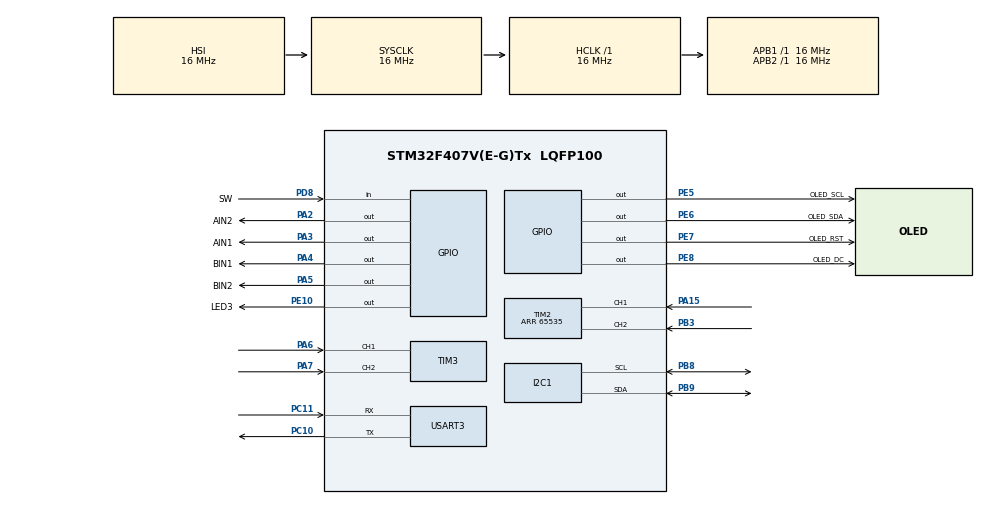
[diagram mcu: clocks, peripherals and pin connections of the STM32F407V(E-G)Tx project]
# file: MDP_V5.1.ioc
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Dma.Request0=USART3_RX
Dma.USART3_RX.0.Direction=DMA_PERIPH_TO_MEMORY
Dma.USART3_RX.0.FIFOMode=DMA_FIFOMODE_DISABLE
Dma.USART3_RX.0.Instance=DMA1_Stream1
Dma.USART3_RX.0.MemDataAlignment=DMA_MDATAALIGN_BYTE
Dma.USART3_RX.0.MemInc=DMA_MINC_ENABLE
Dma.USART3_RX.0.Mode=DMA_CIRCULAR
Dma.USART3_RX.0.PeriphDataAlignment=DMA_PDATAALIGN_BYTE
Dma.USART3_RX.0.PeriphInc=DMA_PINC_DISABLE
Dma.USART3_RX.0.Priority=DMA_PRIORITY_LOW
FREERTOS.Tasks01=defaultTask,8,128,StartDefaultTask,Default,NULL,Dynamic,NULL,NULL;DisplayTask,8,128,Display,Default,NULL,Dynamic,NULL,NULL;Motor_L,8,1024,LeftMotor,Default,NULL,Dynamic,NULL,NULL;GyroTask,8,1024,GyroFunc,Default,NULL,Dynamic,NULL,NULL
Mcu.Family=STM32F4
Mcu.Name=STM32F407V(E-G)Tx
Mcu.Package=LQFP100
NVIC.DMA1_Stream1_IRQn=true\:5\:0\:false\:false\:true\:true\:false\:true\:true
NVIC.PriorityGroup=NVIC_PRIORITYGROUP_4
NVIC.USART3_IRQn=true\:5\:0\:false\:false\:true\:true\:true\:true\:true
PA15.Signal=S_TIM2_CH1_ETR
PA2.GPIO_Label=AIN2
PA2.Signal=GPIO_Output
PA3.GPIO_Label=AIN1
PA3.Signal=GPIO_Output
PA4.GPIO_Label=BIN1
PA4.Signal=GPIO_Output
PA5.GPIO_Label=BIN2
PA5.Signal=GPIO_Output
PA6.Signal=S_TIM3_CH1
PA7.Signal=S_TIM3_CH2
PB3.Signal=S_TIM2_CH2
PB8.Mode=I2C
PB8.Signal=I2C1_SCL
PB9.Mode=I2C
PB9.Signal=I2C1_SDA
PC10.Mode=Asynchronous
PC10.Signal=USART3_TX
PC11.Mode=Asynchronous
PC11.Signal=USART3_RX
PC6.GPIO_Label=PWMA
PC6.Signal=S_TIM8_CH1
PC7.GPIO_Label=PWMB
PC7.Signal=S_TIM8_CH2
PD8.GPIO_Label=SW
PD8.Signal=GPIO_Input
PE10.GPIO_Label=LED3
PE10.Signal=GPIO_Output
PE14.GPIO_Label=Servo
PE14.Signal=S_TIM1_CH4
PE5.GPIO_Label=OLED_SCL
PE5.Signal=GPIO_Output
PE6.GPIO_Label=OLED_SDA
PE6.Signal=GPIO_Output
PE7.GPIO_Label=OLED_RST
PE7.Signal=GPIO_Output
PE8.GPIO_Label=OLED_DC
PE8.Signal=GPIO_Output
ProjectManager.HeapSize=0x200
ProjectManager.StackSize=0x400
ProjectManager.TargetToolchain=STM32CubeIDE
RCC.AHBFreq_Value=16000000
RCC.APB1Freq_Value=16000000
RCC.APB2Freq_Value=16000000
RCC.CortexFreq_Value=16000000
RCC.HSE_VALUE=25000000
RCC.HSI_VALUE=16000000
RCC.LSE_VALUE=32768
RCC.SYSCLKFreq_VALUE=16000000
RCC.VCOOutputFreq_Value=192000000
SH.S_TIM1_CH4.0=TIM1_CH4
SH.S_TIM2_CH1_ETR.0=TIM2_CH1,Encoder_Interface
SH.S_TIM2_CH2.0=TIM2_CH2,Encoder_Interface
SH.S_TIM3_CH1.0=TIM3_CH1,Encoder_Interface
SH.S_TIM3_CH2.0=TIM3_CH2,Encoder_Interface
SH.S_TIM8_CH1.0=TIM8_CH1
SH.S_TIM8_CH2.0=TIM8_CH2
TIM1.Channel-PWM\ Generation4\ No\ Output=TIM_CHANNEL_4
TIM1.Period=1000
TIM1.Prescaler=160
TIM2.EncoderMode=TIM_ENCODERMODE_TI12
TIM2.IC1Filter=10
TIM2.IC2Filter=10
TIM2.Period=65535
TIM3.EncoderMode=TIM_ENCODERMODE_TI12
TIM3.IC1Filter=10
TIM3.IC2Filter=10
TIM8.Channel-PWM\ Generation1\ No\ Output=TIM_CHANNEL_1
TIM8.Channel-PWM\ Generation2\ No\ Output=TIM_CHANNEL_2
TIM8.Period=7199
USART3.VirtualMode=VM_ASYNC
VP_FREERTOS_VS_CMSIS_V2.Mode=CMSIS_V2
VP_TIM1_VS_ClockSourceINT.Mode=Internal
VP_TIM1_VS_no_output4.Mode=PWM Generation4 No Output
VP_TIM8_VS_ClockSourceINT.Mode=Internal
VP_TIM8_VS_no_output1.Mode=PWM Generation1 No Output
VP_TIM8_VS_no_output2.Mode=PWM Generation2 No Output
board=custom

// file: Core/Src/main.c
/* USER CODE BEGIN Header */
/**
  ******************************************************************************
  * @file           : main.c
  * @brief          : Main program body
  ******************************************************************************
  * @attention
  *
  * Copyright (c) 2022 STMicroelectronics.
  * All rights reserved.
  *
  * This software is licensed under terms that can be found in the LICENSE file
  * in the root directory of this software component.
  * If no LICENSE file comes with this software, it is provided AS-IS.
  *
  ******************************************************************************
  */
/* USER CODE END Header */
#include "main.h"
#include "cmsis_os.h"

/* USER CODE BEGIN Includes */
#include "oled.h"
#include "ICM20948.h"
#include "math.h"
#include "pid.h"
#include "stdio.h"
/* USER CODE END Includes */

I2C_HandleTypeDef hi2c1;

TIM_HandleTypeDef htim1;
TIM_HandleTypeDef htim2;
TIM_HandleTypeDef htim3;
TIM_HandleTypeDef htim8;

UART_HandleTypeDef huart3;
DMA_HandleTypeDef hdma_usart3_rx;

/* Definitions for defaultTask */
osThreadId_t defaultTaskHandle;
const osThreadAttr_t defaultTask_attributes = {
  .name = "defaultTask",
  .stack_size = 128 * 4,
  .priority = (osPriority_t) osPriorityLow,
};
/* Definitions for DisplayTask */
osThreadId_t DisplayTaskHandle;
const osThreadAttr_t DisplayTask_attributes = {
  .name = "DisplayTask",
  .stack_size = 128 * 4,
  .priority = (osPriority_t) osPriorityLow,
};
/* Definitions for Motor_L */
osThreadId_t Motor_LHandle;
const osThreadAttr_t Motor_L_attributes = {
  .name = "Motor_L",
  .stack_size = 1024 * 4,
  .priority = (osPriority_t) osPriorityLow,
};
/* Definitions for GyroTask */
osThreadId_t GyroTaskHandle;
const osThreadAttr_t GyroTask_attributes = {
  .name = "GyroTask",
  .stack_size = 1024 * 4,
  .priority = (osPriority_t) osPriorityLow,
};

void SystemClock_Config(void);
static void MX_GPIO_Init(void);
static void MX_DMA_Init(void);
static void MX_TIM8_Init(void);
static void MX_TIM2_Init(void);
static void MX_TIM1_Init(void);
static void MX_USART3_UART_Init(void);
static void MX_TIM3_Init(void);
static void MX_I2C1_Init(void);
void StartDefaultTask(void *argument);
void Display(void *argument);
void LeftMotor(void *argument);
void GyroFunc(void *argument);

/* USER CODE BEGIN 0 */
uint16_t pwmVal = 2300, pwmVal_S = 2000*12/28, pwmVal_L = 2000;
double min_pwm_ratio = 0.3, max_pwm_dif = 0.5;
uint8_t Buffer[5];
int32_t heading_rbt = 0;
int32_t t_heading = 0;
double current_angle = 0, current_gyro = 0;

uint8_t is_calibrated = 0;
double straight_error = 0.0;
double error_x = 0.0, error_y = 0.0;

double travel_dist = 0;
double prev_dist = 0;
int32_t encoder_position = 0;

double relative_x = 0;
double relative_y = 0;
ICM20948 imu;

PID_TypeDef Turning_PID, Straight_PID, StraightErr_PID;
/* USER CODE END 0 */

int main(void)
{

  /* MCU Configuration--------------------------------------------------------*/

  /* Reset of all peripherals, Initializes the Flash interface and the Systick. */
  HAL_Init();

  /* USER CODE BEGIN Init */

  Buffer[0] = 'd';
  Buffer[1] = 'W';
  Buffer[2] = '0';
  Buffer[3] = '9';
  Buffer[4] = 'd';

  /* USER CODE END Init */

  /* Configure the system clock */
  SystemClock_Config();

  /* Initialize all configured peripherals */
  MX_GPIO_Init();
  MX_DMA_Init();
  MX_TIM8_Init();
  MX_TIM2_Init();
  MX_TIM1_Init();
  MX_USART3_UART_Init();
  MX_TIM3_Init();
  MX_I2C1_Init();
  /* USER CODE BEGIN 2 */
  OLED_Init();
  CoreDebug->DEMCR |= CoreDebug_DEMCR_TRCENA_Msk;
  DWT->CYCCNT = 0;
  DWT->CTRL |= DWT_CTRL_CYCCNTENA_Msk;
  /* USER CODE END 2 */

  /* Init scheduler */
  osKernelInitialize();

  /* Create the thread(s) */
  /* creation of defaultTask */
  defaultTaskHandle = osThreadNew(StartDefaultTask, NULL, &defaultTask_attributes);

  /* creation of DisplayTask */
  DisplayTaskHandle = osThreadNew(Display, NULL, &DisplayTask_attributes);

  /* creation of Motor_L */
  Motor_LHandle = osThreadNew(LeftMotor, NULL, &Motor_L_attributes);

  /* creation of GyroTask */
  GyroTaskHandle = osThreadNew(GyroFunc, NULL, &GyroTask_attributes);

  /* Start scheduler */
  osKernelStart();

  /* We should never get here as control is now taken by the scheduler */
  /* Infinite loop */
  while (1)
  {

  }
}

void SystemClock_Config(void)
{
  RCC_OscInitTypeDef RCC_OscInitStruct = {0};
  RCC_ClkInitTypeDef RCC_ClkInitStruct = {0};

  /** Configure the main internal regulator output voltage
  */
  __HAL_RCC_PWR_CLK_ENABLE();
  __HAL_PWR_VOLTAGESCALING_CONFIG(PWR_REGULATOR_VOLTAGE_SCALE1);
  /** Initializes the RCC Oscillators according to the specified parameters
  * in the RCC_OscInitTypeDef structure.
  */
  RCC_OscInitStruct.OscillatorType = RCC_OSCILLATORTYPE_HSI;
  RCC_OscInitStruct.HSIState = RCC_HSI_ON;
  RCC_OscInitStruct.HSICalibrationValue = RCC_HSICALIBRATION_DEFAULT;
  RCC_OscInitStruct.PLL.PLLState = RCC_PLL_NONE;
  if (HAL_RCC_OscConfig(&RCC_OscInitStruct) != HAL_OK)
  {
    Error_Handler();
  }
  /** Initializes the CPU, AHB and APB buses clocks
  */
  RCC_ClkInitStruct.ClockType = RCC_CLOCKTYPE_HCLK|RCC_CLOCKTYPE_SYSCLK
                              |RCC_CLOCKTYPE_PCLK1|RCC_CLOCKTYPE_PCLK2;
  RCC_ClkInitStruct.SYSCLKSource = RCC_SYSCLKSOURCE_HSI;
  RCC_ClkInitStruct.AHBCLKDivider = RCC_SYSCLK_DIV1;
  RCC_ClkInitStruct.APB1CLKDivider = RCC_HCLK_DIV1;
  RCC_ClkInitStruct.APB2CLKDivider = RCC_HCLK_DIV1;

  if (HAL_RCC_ClockConfig(&RCC_ClkInitStruct, FLASH_LATENCY_0) != HAL_OK)
  {
    Error_Handler();
  }
}

static void MX_I2C1_Init(void)
{

  hi2c1.Instance = I2C1;
  hi2c1.Init.ClockSpeed = 100000;
  hi2c1.Init.DutyCycle = I2C_DUTYCYCLE_2;
  hi2c1.Init.OwnAddress1 = 0;
  hi2c1.Init.AddressingMode = I2C_ADDRESSINGMODE_7BIT;
  hi2c1.Init.DualAddressMode = I2C_DUALADDRESS_DISABLE;
  hi2c1.Init.OwnAddress2 = 0;
  hi2c1.Init.GeneralCallMode = I2C_GENERALCALL_DISABLE;
  hi2c1.Init.NoStretchMode = I2C_NOSTRETCH_DISABLE;
  if (HAL_I2C_Init(&hi2c1) != HAL_OK)
  {
    Error_Handler();
  }

}

static void MX_TIM1_Init(void)
{

  TIM_ClockConfigTypeDef sClockSourceConfig = {0};
  TIM_MasterConfigTypeDef sMasterConfig = {0};
  TIM_OC_InitTypeDef sConfigOC = {0};
  TIM_BreakDeadTimeConfigTypeDef sBreakDeadTimeConfig = {0};

  htim1.Instance = TIM1;
  htim1.Init.Prescaler = 160;
  htim1.Init.CounterMode = TIM_COUNTERMODE_UP;
  htim1.Init.Period = 1000;
  htim1.Init.ClockDivision = TIM_CLOCKDIVISION_DIV1;
  htim1.Init.RepetitionCounter = 0;
  htim1.Init.AutoReloadPreload = TIM_AUTORELOAD_PRELOAD_DISABLE;
  if (HAL_TIM_Base_Init(&htim1) != HAL_OK)
  {
    Error_Handler();
  }
  sClockSourceConfig.ClockSource = TIM_CLOCKSOURCE_INTERNAL;
  if (HAL_TIM_ConfigClockSource(&htim1, &sClockSourceConfig) != HAL_OK)
  {
    Error_Handler();
  }
  if (HAL_TIM_PWM_Init(&htim1) != HAL_OK)
  {
    Error_Handler();
  }
  sMasterConfig.MasterOutputTrigger = TIM_TRGO_RESET;
  sMasterConfig.MasterSlaveMode = TIM_MASTERSLAVEMODE_DISABLE;
  if (HAL_TIMEx_MasterConfigSynchronization(&htim1, &sMasterConfig) != HAL_OK)
  {
    Error_Handler();
  }
  sConfigOC.OCMode = TIM_OCMODE_PWM1;
  sConfigOC.Pulse = 0;
  sConfigOC.OCPolarity = TIM_OCPOLARITY_HIGH;
  sConfigOC.OCFastMode = TIM_OCFAST_DISABLE;
  sConfigOC.OCIdleState = TIM_OCIDLESTATE_RESET;
  sConfigOC.OCNIdleState = TIM_OCNIDLESTATE_RESET;
  if (HAL_TIM_PWM_ConfigChannel(&htim1, &sConfigOC, TIM_CHANNEL_4) != HAL_OK)
  {
    Error_Handler();
  }
  sBreakDeadTimeConfig.OffStateRunMode = TIM_OSSR_DISABLE;
  sBreakDeadTimeConfig.OffStateIDLEMode = TIM_OSSI_DISABLE;
  sBreakDeadTimeConfig.LockLevel = TIM_LOCKLEVEL_OFF;
  sBreakDeadTimeConfig.DeadTime = 0;
  sBreakDeadTimeConfig.BreakState = TIM_BREAK_DISABLE;
  sBreakDeadTimeConfig.BreakPolarity = TIM_BREAKPOLARITY_HIGH;
  sBreakDeadTimeConfig.AutomaticOutput = TIM_AUTOMATICOUTPUT_DISABLE;
  if (HAL_TIMEx_ConfigBreakDeadTime(&htim1, &sBreakDeadTimeConfig) != HAL_OK)
  {
    Error_Handler();
  }

}

static void MX_TIM2_Init(void)
{

  TIM_Encoder_InitTypeDef sConfig = {0};
  TIM_MasterConfigTypeDef sMasterConfig = {0};

  htim2.Instance = TIM2;
  htim2.Init.Prescaler = 0;
  htim2.Init.CounterMode = TIM_COUNTERMODE_UP;
  htim2.Init.Period = 65535;
  htim2.Init.ClockDivision = TIM_CLOCKDIVISION_DIV1;
  htim2.Init.AutoReloadPreload = TIM_AUTORELOAD_PRELOAD_DISABLE;
  sConfig.EncoderMode = TIM_ENCODERMODE_TI12;
  sConfig.IC1Polarity = TIM_ICPOLARITY_RISING;
  sConfig.IC1Selection = TIM_ICSELECTION_DIRECTTI;
  sConfig.IC1Prescaler = TIM_ICPSC_DIV1;
  sConfig.IC1Filter = 10;
  sConfig.IC2Polarity = TIM_ICPOLARITY_RISING;
  sConfig.IC2Selection = TIM_ICSELECTION_DIRECTTI;
  sConfig.IC2Prescaler = TIM_ICPSC_DIV1;
  sConfig.IC2Filter = 10;
  if (HAL_TIM_Encoder_Init(&htim2, &sConfig) != HAL_OK)
  {
    Error_Handler();
  }
  sMasterConfig.MasterOutputTrigger = TIM_TRGO_RESET;
  sMasterConfig.MasterSlaveMode = TIM_MASTERSLAVEMODE_DISABLE;
  if (HAL_TIMEx_MasterConfigSynchronization(&htim2, &sMasterConfig) != HAL_OK)
  {
    Error_Handler();
  }

}

static void MX_TIM3_Init(void)
{

  TIM_Encoder_InitTypeDef sConfig = {0};
  TIM_MasterConfigTypeDef sMasterConfig = {0};

  htim3.Instance = TIM3;
  htim3.Init.Prescaler = 0;
  htim3.Init.CounterMode = TIM_COUNTERMODE_UP;
  htim3.Init.Period = 65535;
  htim3.Init.ClockDivision = TIM_CLOCKDIVISION_DIV1;
  htim3.Init.AutoReloadPreload = TIM_AUTORELOAD_PRELOAD_DISABLE;
  sConfig.EncoderMode = TIM_ENCODERMODE_TI12;
  sConfig.IC1Polarity = TIM_ICPOLARITY_RISING;
  sConfig.IC1Selection = TIM_ICSELECTION_DIRECTTI;
  sConfig.IC1Prescaler = TIM_ICPSC_DIV1;
  sConfig.IC1Filter = 10;
  sConfig.IC2Polarity = TIM_ICPOLARITY_RISING;
  sConfig.IC2Selection = TIM_ICSELECTION_DIRECTTI;
  sConfig.IC2Prescaler = TIM_ICPSC_DIV1;
  sConfig.IC2Filter = 10;
  if (HAL_TIM_Encoder_Init(&htim3, &sConfig) != HAL_OK)
  {
    Error_Handler();
  }
  sMasterConfig.MasterOutputTrigger = TIM_TRGO_RESET;
  sMasterConfig.MasterSlaveMode = TIM_MASTERSLAVEMODE_DISABLE;
  if (HAL_TIMEx_MasterConfigSynchronization(&htim3, &sMasterConfig) != HAL_OK)
  {
    Error_Handler();
  }

}

static void MX_TIM8_Init(void)
{

  TIM_ClockConfigTypeDef sClockSourceConfig = {0};
  TIM_MasterConfigTypeDef sMasterConfig = {0};
  TIM_OC_InitTypeDef sConfigOC = {0};
  TIM_BreakDeadTimeConfigTypeDef sBreakDeadTimeConfig = {0};

  htim8.Instance = TIM8;
  htim8.Init.Prescaler = 0;
  htim8.Init.CounterMode = TIM_COUNTERMODE_UP;
  htim8.Init.Period = 7199;
  htim8.Init.ClockDivision = TIM_CLOCKDIVISION_DIV1;
  htim8.Init.RepetitionCounter = 0;
  htim8.Init.AutoReloadPreload = TIM_AUTORELOAD_PRELOAD_DISABLE;
  if (HAL_TIM_Base_Init(&htim8) != HAL_OK)
  {
    Error_Handler();
  }
  sClockSourceConfig.ClockSource = TIM_CLOCKSOURCE_INTERNAL;
  if (HAL_TIM_ConfigClockSource(&htim8, &sClockSourceConfig) != HAL_OK)
  {
    Error_Handler();
  }
  if (HAL_TIM_PWM_Init(&htim8) != HAL_OK)
  {
    Error_Handler();
  }
  sMasterConfig.MasterOutputTrigger = TIM_TRGO_RESET;
  sMasterConfig.MasterSlaveMode = TIM_MASTERSLAVEMODE_DISABLE;
  if (HAL_TIMEx_MasterConfigSynchronization(&htim8, &sMasterConfig) != HAL_OK)
  {
    Error_Handler();
  }
  sConfigOC.OCMode = TIM_OCMODE_PWM1;
  sConfigOC.Pulse = 0;
  sConfigOC.OCPolarity = TIM_OCPOLARITY_HIGH;
  sConfigOC.OCNPolarity = TIM_OCNPOLARITY_HIGH;
  sConfigOC.OCFastMode = TIM_OCFAST_DISABLE;
  sConfigOC.OCIdleState = TIM_OCIDLESTATE_RESET;
  sConfigOC.OCNIdleState = TIM_OCNIDLESTATE_RESET;
  if (HAL_TIM_PWM_ConfigChannel(&htim8, &sConfigOC, TIM_CHANNEL_1) != HAL_OK)
  {
    Error_Handler();
  }
  if (HAL_TIM_PWM_ConfigChannel(&htim8, &sConfigOC, TIM_CHANNEL_2) != HAL_OK)
  {
    Error_Handler();
  }
  sBreakDeadTimeConfig.OffStateRunMode = TIM_OSSR_DISABLE;
  sBreakDeadTimeConfig.OffStateIDLEMode = TIM_OSSI_DISABLE;
  sBreakDeadTimeConfig.LockLevel = TIM_LOCKLEVEL_OFF;
  sBreakDeadTimeConfig.DeadTime = 0;
  sBreakDeadTimeConfig.BreakState = TIM_BREAK_DISABLE;
  sBreakDeadTimeConfig.BreakPolarity = TIM_BREAKPOLARITY_HIGH;
  sBreakDeadTimeConfig.AutomaticOutput = TIM_AUTOMATICOUTPUT_DISABLE;
  if (HAL_TIMEx_ConfigBreakDeadTime(&htim8, &sBreakDeadTimeConfig) != HAL_OK)
  {
    Error_Handler();
  }

}

static void MX_USART3_UART_Init(void)
{

  huart3.Instance = USART3;
  huart3.Init.BaudRate = 115200;
  huart3.Init.WordLength = UART_WORDLENGTH_8B;
  huart3.Init.StopBits = UART_STOPBITS_1;
  huart3.Init.Parity = UART_PARITY_NONE;
  huart3.Init.Mode = UART_MODE_TX_RX;
  huart3.Init.HwFlowCtl = UART_HWCONTROL_NONE;
  huart3.Init.OverSampling = UART_OVERSAMPLING_16;
  if (HAL_UART_Init(&huart3) != HAL_OK)
  {
    Error_Handler();
  }

}

static void MX_DMA_Init(void)
{

  /* DMA controller clock enable */
  __HAL_RCC_DMA1_CLK_ENABLE();

  /* DMA interrupt init */
  /* DMA1_Stream1_IRQn interrupt configuration */
  HAL_NVIC_SetPriority(DMA1_Stream1_IRQn, 5, 0);
  HAL_NVIC_EnableIRQ(DMA1_Stream1_IRQn);

}

static void MX_GPIO_Init(void)
{
  GPIO_InitTypeDef GPIO_InitStruct = {0};

  /* GPIO Ports Clock Enable */
  __HAL_RCC_GPIOE_CLK_ENABLE();
  __HAL_RCC_GPIOA_CLK_ENABLE();
  __HAL_RCC_GPIOD_CLK_ENABLE();
  __HAL_RCC_GPIOC_CLK_ENABLE();
  __HAL_RCC_GPIOB_CLK_ENABLE();

  /*Configure GPIO pin Output Level */
  HAL_GPIO_WritePin(GPIOE, OLED_SCL_Pin|OLED_SDA_Pin|OLED_RST_Pin|OLED_DC_Pin
                          |LED3_Pin, GPIO_PIN_RESET);

  /*Configure GPIO pin Output Level */
  HAL_GPIO_WritePin(GPIOA, AIN2_Pin|AIN1_Pin|BIN1_Pin|BIN2_Pin, GPIO_PIN_RESET);

  /*Configure GPIO pins : OLED_SCL_Pin OLED_SDA_Pin OLED_RST_Pin OLED_DC_Pin
                           LED3_Pin */
  GPIO_InitStruct.Pin = OLED_SCL_Pin|OLED_SDA_Pin|OLED_RST_Pin|OLED_DC_Pin
                          |LED3_Pin;
  GPIO_InitStruct.Mode = GPIO_MODE_OUTPUT_PP;
  GPIO_InitStruct.Pull = GPIO_NOPULL;
  GPIO_InitStruct.Speed = GPIO_SPEED_FREQ_LOW;
  HAL_GPIO_Init(GPIOE, &GPIO_InitStruct);

  /*Configure GPIO pins : AIN2_Pin AIN1_Pin BIN1_Pin BIN2_Pin */
  GPIO_InitStruct.Pin = AIN2_Pin|AIN1_Pin|BIN1_Pin|BIN2_Pin;
  GPIO_InitStruct.Mode = GPIO_MODE_OUTPUT_PP;
  GPIO_InitStruct.Pull = GPIO_NOPULL;
  GPIO_InitStruct.Speed = GPIO_SPEED_FREQ_LOW;
  HAL_GPIO_Init(GPIOA, &GPIO_InitStruct);

  /*Configure GPIO pin : SW_Pin */
  GPIO_InitStruct.Pin = SW_Pin;
  GPIO_InitStruct.Mode = GPIO_MODE_INPUT;
  GPIO_InitStruct.Pull = GPIO_NOPULL;
  HAL_GPIO_Init(SW_GPIO_Port, &GPIO_InitStruct);

}

/* USER CODE BEGIN 4 */
uint8_t is_right(int32_t head1, int32_t head2)
{
	if(head2 > head1 && head2 - head1 < 18000) return 1;
	else if(head2 < head1 && head2 + 36000 - head1 < 18000)return 1;
	return 0;
}
/* USER CODE END 4 */

void StartDefaultTask(void *argument)
{
  /* USER CODE BEGIN 5 */
  uint8_t hello[20];
  /* Infinite loop */
//  HAL_UART_Receive_IT(&huart3,(uint8_t *) Buffer,5);
  for(;;)
  {

//	sprintf(hello, "buff:%s", Buffer);
//	OLED_ShowString(10,20,hello);
	HAL_GPIO_TogglePin(LED3_GPIO_Port,LED3_Pin);
    osDelay(1);
  }
  /* USER CODE END 5 */
}

void Display(void *argument)
{
  /* USER CODE BEGIN Display */
  uint8_t hello[20] = "testV5!\0";
  /* Infinite loop */
  for(;;)
  {
	sprintf(hello, "V5.1");
	OLED_ShowString(10,10,hello);
	OLED_Refresh_Gram();
    osDelay(1);
  }
  /* USER CODE END Display */
}

/* USER CODE BEGIN Header_LeftMotor */
double PID_out;
double target_angle = 90;
double target_x = 0, target_y = 0;
/**
* @brief Function implementing the Motor_L thread.
* @param argument: Not used
* @retval None
*/
/* USER CODE END Header_LeftMotor */
void LeftMotor(void *argument)
{
  /* USER CODE BEGIN LeftMotor */

  HAL_TIM_PWM_Start(&htim8,TIM_CHANNEL_1);
  HAL_TIM_PWM_Start(&htim8,TIM_CHANNEL_2);
  HAL_TIM_PWM_Start(&htim1,TIM_CHANNEL_4);

  uint8_t hello[20];

  int16_t value;

  while(!is_calibrated){
	  osDelay(100);
  }
  htim1.Instance ->CCR4 = 148.4;

  uint8_t target_is_before = 0;

  double left_pwm = 0, right_pwm = 0;
  double PID_dist;

  double target_dist = 0;
  double slip_x = 0, slip_y = 0;

  char sbuf[10];
  t_heading = current_angle;
  HAL_UART_Receive_DMA (&huart3, Buffer, 5);
  double TURNING_RAD_L = 22 - 7.95,  TURNING_RAD_R = 23 + 7.95;
  double local_x = 0, local_y = 0, local_r = 0, local_theta = 0;
  /* Infinite loop */
  for(;;){
	  // Loop until next command is received
	  do{
		  osDelay(100);
	  }while(Buffer[4] == 'd');
	  target_x = 0;
	  target_y = 0;
	  local_x = 0;
	  local_y = 0;
	  local_theta = 0;
	  local_r = 0;
	  // Convert instruction value to int
	  value = (Buffer[2] - '0')*100 + (Buffer[3] - '0')*10 + Buffer[4] - '0';
//	  dist = value;
	  if((Buffer[0]=='F' && Buffer[1]=='L')){
		  local_x = -TURNING_RAD_L + TURNING_RAD_L*cos((double)value*(M_PI / 180.0));
		  local_y = TURNING_RAD_L*sin((double)value*(M_PI / 180.0));

		  local_theta = (180.0 - (double)value)/2.0 - 90.0;
	  }
	  else if((Buffer[0]=='B' && Buffer[1]=='L')){
		  local_x = -TURNING_RAD_L + TURNING_RAD_L*cos((double)value*(M_PI / 180.0));
		  local_y = -TURNING_RAD_L*sin((double)value*(M_PI / 180.0));

		  local_theta = -90.0 - (180.0 - (double)value)/2.0;
	  }
	  else if((Buffer[0]=='F' && Buffer[1]=='R')){
		  local_x = TURNING_RAD_R - TURNING_RAD_R*cos((double)value*(M_PI / 180.0));
		  local_y = TURNING_RAD_R*sin((double)value*(M_PI / 180.0));

		  local_theta = 90.0 - (180.0 - (double)value)/2.0;
	  }
	  else if((Buffer[0]=='B' && Buffer[1]=='R')){
		  local_x = TURNING_RAD_R - TURNING_RAD_R*cos((double)value*(M_PI / 180.0));
		  local_y = -TURNING_RAD_R*sin((double)value*(M_PI / 180.0));

		  local_theta = 90.0 + (180.0 - (double)value)/2.0;
	  }

	  local_r = sqrt(local_x*local_x + local_y*local_y);
	  target_x = local_r * sin(((double)t_heading + local_theta)*(M_PI / 180.0));
	  target_y = local_r * cos(((double)t_heading + local_theta)*(M_PI / 180.0));

	  // For counter-clockwise turning
	  if((Buffer[0]=='F' && Buffer[1]=='L')||(Buffer[0]=='B' && Buffer[1]=='R')){
		  t_heading = t_heading - value;	// Set target heading
		  target_angle = (double)t_heading;
		  target_is_before = 1;
	  }
	  // For clockwise turning
	  else if ((Buffer[0]=='F' && Buffer[1]=='R')||(Buffer[0]=='B' && Buffer[1]=='L')){
		  t_heading = t_heading + value;
		  target_angle = (double)t_heading;
		  target_is_before = 0;
	  }
	  else if(Buffer[1] == 'W'){
		  target_angle = (double)t_heading;
	  }

	  // Set servo values
	  if(Buffer[1] == 'L'){
		  htim1.Instance ->CCR4 = 91;
	  }
	  else if(Buffer[1] == 'R'){
		  htim1.Instance ->CCR4 = 240;
	  }
	  else{
		  htim1.Instance ->CCR4 = 148.4;
	  }
	  // Wait for servo to turn
	  osDelay(550);
	  // If currently running turning instruction
	  if(Buffer[1] != 'W'){
		  PID_out = 0;
		  // Set PID Controller (constants are Kp,Ki,Kd)
		  PID(&Turning_PID, &current_angle, &PID_out, &target_angle, 0.021, 0.1, 0.0, _PID_P_ON_E, _PID_CD_DIRECT);

		  PID_SetMode(&Turning_PID, _PID_MODE_AUTOMATIC);
		  PID_SetSampleTime(&Turning_PID, 10);
		  PID_SetOutputLimits(&Turning_PID, -1.0f+min_pwm_ratio, 1.0f-min_pwm_ratio);

		  // For debugging
	  //	  sprintf(sbuf, "%d ", (int)target_angle);
	  //	  HAL_UART_Transmit(&huart3, (uint8_t *)sbuf, sizeof(sbuf), HAL_MAX_DELAY);
	  //	  sprintf(sbuf, "%d", (int)(-1.0f*(double)target_is_before)*(target_angle - current_angle));
	  //	  HAL_UART_Transmit(&huart3, (uint8_t *)sbuf, sizeof(sbuf), HAL_MAX_DELAY);
	  //	  HAL_UART_Transmit(&huart3, (uint8_t *)"\r\n", 2, HAL_MAX_DELAY);

		  relative_x = 0;
		  relative_y = 0;

		  // Loop until robot's heading passes target heading
		  while(2*(0.5f - (double)target_is_before)*(target_angle - current_angle)>0){
			  // Blinking LED for checking program crashes
			  HAL_GPIO_TogglePin(LED3_GPIO_Port, LED3_Pin);

			  // Compute next pwm val
			  PID_Compute(&Turning_PID);

//			  taskENTER_CRITICAL();
			  // If steering left
			  if(Buffer[1] == 'L')
			  {
				  // Forward
				  if(PID_out < 0){
					  HAL_GPIO_WritePin(GPIOA, AIN2_Pin, GPIO_PIN_RESET);
					  HAL_GPIO_WritePin(GPIOA, AIN1_Pin, GPIO_PIN_SET);
					  HAL_GPIO_WritePin(GPIOA, BIN2_Pin, GPIO_PIN_RESET);
					  HAL_GPIO_WritePin(GPIOA, BIN1_Pin, GPIO_PIN_SET);

					  // Set motor speed to minimum power +/- PID output
					  if(2*(0.5f - (double)target_is_before)*(target_angle - current_angle) < 10){
						  __HAL_TIM_SetCompare(&htim8,TIM_CHANNEL_1,(double)pwmVal_S*min_pwm_ratio);
						  __HAL_TIM_SetCompare(&htim8,TIM_CHANNEL_2,(double)pwmVal_L*min_pwm_ratio);
					  }
					  else{
						  __HAL_TIM_SetCompare(&htim8,TIM_CHANNEL_1,(double)pwmVal_S*(-PID_out+min_pwm_ratio));
						  __HAL_TIM_SetCompare(&htim8,TIM_CHANNEL_2,(double)pwmVal_L*(-PID_out+min_pwm_ratio));
					  }
				  }
				  // Backwards
				  else{
					  HAL_GPIO_WritePin(GPIOA, AIN1_Pin, GPIO_PIN_RESET);
					  HAL_GPIO_WritePin(GPIOA, AIN2_Pin, GPIO_PIN_SET);
					  HAL_GPIO_WritePin(GPIOA, BIN1_Pin, GPIO_PIN_RESET);
					  HAL_GPIO_WritePin(GPIOA, BIN2_Pin, GPIO_PIN_SET);

					  // Set motor speed to minimum power +/- PID output
					  if(2*(0.5f - (double)target_is_before)*(target_angle - current_angle) < 10){
						  __HAL_TIM_SetCompare(&htim8,TIM_CHANNEL_1,(double)pwmVal_S*min_pwm_ratio);
						  __HAL_TIM_SetCompare(&htim8,TIM_CHANNEL_2,(double)pwmVal_L*min_pwm_ratio);
					  }
					  else{
						  __HAL_TIM_SetCompare(&htim8,TIM_CHANNEL_1,(double)pwmVal_S*(PID_out+min_pwm_ratio));
						  __HAL_TIM_SetCompare(&htim8,TIM_CHANNEL_2,(double)pwmVal_L*(PID_out+min_pwm_ratio));
					  }
				  }
			  }
			  // If steering right
			  else if(Buffer[1] == 'R')
			  {
				  // Backwards
				  if(PID_out < 0){
					  HAL_GPIO_WritePin(GPIOA, AIN1_Pin, GPIO_PIN_RESET);
					  HAL_GPIO_WritePin(GPIOA, AIN2_Pin, GPIO_PIN_SET);
					  HAL_GPIO_WritePin(GPIOA, BIN1_Pin, GPIO_PIN_RESET);
					  HAL_GPIO_WritePin(GPIOA, BIN2_Pin, GPIO_PIN_SET);

					  // Set motor speed to minimum power +/- PID output
					  if(2*(0.5f - (double)target_is_before)*(target_angle - current_angle) < 10){
						  __HAL_TIM_SetCompare(&htim8,TIM_CHANNEL_1,(double)pwmVal_L*min_pwm_ratio);
						  __HAL_TIM_SetCompare(&htim8,TIM_CHANNEL_2,(double)pwmVal_S*min_pwm_ratio);
					  }
					  else{
						  __HAL_TIM_SetCompare(&htim8,TIM_CHANNEL_1,(double)pwmVal_L*(-PID_out+min_pwm_ratio));
						  __HAL_TIM_SetCompare(&htim8,TIM_CHANNEL_2,(double)pwmVal_S*(-PID_out+min_pwm_ratio));
					  }
				  }
				  // Forwards
				  else{
					  HAL_GPIO_WritePin(GPIOA, AIN2_Pin, GPIO_PIN_RESET);
					  HAL_GPIO_WritePin(GPIOA, AIN1_Pin, GPIO_PIN_SET);
					  HAL_GPIO_WritePin(GPIOA, BIN2_Pin, GPIO_PIN_RESET);
					  HAL_GPIO_WritePin(GPIOA, BIN1_Pin, GPIO_PIN_SET);

					  // Set motor speed to minimum power +/- PID output
					  if(2*(0.5f - (double)target_is_before)*(target_angle - current_angle) < 10){
						  __HAL_TIM_SetCompare(&htim8,TIM_CHANNEL_1,(double)pwmVal_L*min_pwm_ratio);
						  __HAL_TIM_SetCompare(&htim8,TIM_CHANNEL_2,(double)pwmVal_S*min_pwm_ratio);
					  }
					  else{
						  __HAL_TIM_SetCompare(&htim8,TIM_CHANNEL_1,(double)pwmVal_L*(PID_out+min_pwm_ratio));
						  __HAL_TIM_SetCompare(&htim8,TIM_CHANNEL_2,(double)pwmVal_S*(PID_out+min_pwm_ratio));
					  }
				  }
			  }
//			  taskEXIT_CRITICAL();

			  // Loops every 10ms
			  osDelayUntil(pdMS_TO_TICKS(10));
		  }
		  // Set both motor's speed to 0
		  taskENTER_CRITICAL();
		  __HAL_TIM_SetCompare(&htim8,TIM_CHANNEL_1,0);
		  __HAL_TIM_SetCompare(&htim8,TIM_CHANNEL_2,0);
		  taskEXIT_CRITICAL();
	  }
	  // If currently running straight line instruction
	  else{
		  // Reset traveled distance to 0
		  travel_dist = 0;
		  encoder_position = 0;
		  if(Buffer[0] == 'F'){
//			  target_dist = (double)value * 100.0/102.5;
			  target_dist = (double)value * 100.0/102.5;
		  }
		  else if(Buffer[0] == 'B'){
//			  target_dist = -(double)value * 100.0/102.5;
			  target_dist = -(double)value * 100.0/102.5;
		  }
		  if(((int)target_angle)%360 == 90 || ((int)target_angle)%360+360 == 90){
			  target_dist = target_dist + error_x;
			  error_x = 0;
			  target_x = target_dist;
			  target_y = 0;
		  }
		  else if(((int)target_angle)%360 == 270 || ((int)target_angle)%360+360 == 270){
			  target_dist = target_dist - error_x;
			  error_x = 0;
			  target_x = -target_dist;
			  target_y = 0;
		  }
		  else if(((int)target_angle)%360 == 0 || ((int)target_angle)%360+360 == 0){
			  target_dist = target_dist + error_y;
			  error_y = 0;
			  target_x = 0;
			  target_y = target_dist;
		  }
		  else if(((int)target_angle)%360 == 180 || ((int)target_angle)%360+360 == 180){
			  target_dist = target_dist - error_y;
			  error_y = 0;
			  target_x = 0;
			  target_y = -target_dist;
		  }
		  if(target_dist > 0){
			  HAL_GPIO_WritePin(GPIOA, AIN2_Pin, GPIO_PIN_RESET);
			  HAL_GPIO_WritePin(GPIOA, AIN1_Pin, GPIO_PIN_SET);
			  HAL_GPIO_WritePin(GPIOA, BIN2_Pin, GPIO_PIN_RESET);
			  HAL_GPIO_WritePin(GPIOA, BIN1_Pin, GPIO_PIN_SET);
			  target_is_before = 1;
		  }
		  if(target_dist < 0){
			  HAL_GPIO_WritePin(GPIOA, AIN1_Pin, GPIO_PIN_RESET);
			  HAL_GPIO_WritePin(GPIOA, AIN2_Pin, GPIO_PIN_SET);
			  HAL_GPIO_WritePin(GPIOA, BIN1_Pin, GPIO_PIN_RESET);
			  HAL_GPIO_WritePin(GPIOA, BIN2_Pin, GPIO_PIN_SET);
			  target_is_before = 0;
		  }
		  PID_dist = 0;
		  PID_out = 0;
		  // Set straight distance PID controller (constants are Kp,Ki,Kd)
		  PID(&Straight_PID, &travel_dist, &PID_dist, &target_dist, 0.02, 0.07, 0.0, _PID_P_ON_E, _PID_CD_DIRECT);

		  PID_SetMode(&Straight_PID, _PID_MODE_AUTOMATIC);
		  PID_SetSampleTime(&Straight_PID, 10);
		  PID_SetOutputLimits(&Straight_PID, -1.0f+min_pwm_ratio, 1.0f-min_pwm_ratio);

		  // Set straight line error correction PID controller (constants are Kp,Ki,Kd)
		  PID(&StraightErr_PID, &current_angle, &PID_out, &target_angle, 0.05, 0.02, 0.0, _PID_P_ON_E, _PID_CD_DIRECT);

		  PID_SetMode(&StraightErr_PID, _PID_MODE_AUTOMATIC);
		  PID_SetSampleTime(&StraightErr_PID, 10);
		  PID_SetOutputLimits(&StraightErr_PID, -max_pwm_dif, max_pwm_dif);

		  // Start motor speed to 0
		  __HAL_TIM_SetCompare(&htim8,TIM_CHANNEL_1,(double)0);
		  __HAL_TIM_SetCompare(&htim8,TIM_CHANNEL_2,(double)0);
		  relative_x = 0;
		  relative_y = 0;

		  // Loop until traveled distance exceeds target distance (target_is_before is to account for backward movements)
		  while((2*((double)target_is_before - 0.5f)*(target_dist - travel_dist)>0)){

			  // For Debugging
//			  sprintf(sbuf, "%7d ", (int)current_pulse);
//			  HAL_UART_Transmit(&huart3, (uint8_t *)sbuf, 8, HAL_MAX_DELAY);
//			  sprintf(sbuf, "%7d", (int)target_pulse);
//			  HAL_UART_Transmit(&huart3, (uint8_t *)sbuf, 8, HAL_MAX_DELAY);
//			  HAL_UART_Transmit(&huart3, (uint8_t *)"\r\n", 2, HAL_MAX_DELAY);

			  // Comput PID values
			  PID_Compute(&Straight_PID);
			  PID_Compute(&StraightErr_PID);
			  if(Buffer[0] == 'F')
			  {
				  // Change pwm ratio for both motors to correct if heading deviates from straight line
				  htim1.Instance ->CCR4 = 148.4 + (target_angle - current_angle)*3;
				  left_pwm = (double)pwmVal*(1+PID_out);
				  right_pwm = (double)pwmVal*(1-PID_out);
//				  __HAL_TIM_SetCompare(&htim8,TIM_CHANNEL_1,(double)pwmVal*(1+PID_out));
//				  __HAL_TIM_SetCompare(&htim8,TIM_CHANNEL_2,(double)pwmVal*(1-PID_out));
			  }
			  else if(Buffer[0] == 'B')
			  {
				  // Change pwm ratio for both motors to correct if heading deviates from straight line
				  htim1.Instance ->CCR4 = 148.4 - (target_angle - current_angle)*3;
				  left_pwm = (double)pwmVal*(1-PID_out);
				  right_pwm = (double)pwmVal*(1+PID_out);
//				  __HAL_TIM_SetCompare(&htim8,TIM_CHANNEL_1,(double)pwmVal*(1-PID_out));
//				  __HAL_TIM_SetCompare(&htim8,TIM_CHANNEL_2,(double)pwmVal*(1+PID_out));
			  }

//			  taskENTER_CRITICAL();
			  if(PID_dist < 0){
				  HAL_GPIO_WritePin(GPIOA, AIN1_Pin, GPIO_PIN_RESET);
				  HAL_GPIO_WritePin(GPIOA, AIN2_Pin, GPIO_PIN_SET);
				  HAL_GPIO_WritePin(GPIOA, BIN1_Pin, GPIO_PIN_RESET);
				  HAL_GPIO_WritePin(GPIOA, BIN2_Pin, GPIO_PIN_SET);

				  if(2*((double)target_is_before - 0.5f)*(target_dist - travel_dist)<10){
					  __HAL_TIM_SetCompare(&htim8,TIM_CHANNEL_1, left_pwm*min_pwm_ratio);
					  __HAL_TIM_SetCompare(&htim8,TIM_CHANNEL_2, right_pwm*min_pwm_ratio);
				  }
				  else{
					  __HAL_TIM_SetCompare(&htim8,TIM_CHANNEL_1, left_pwm*(min_pwm_ratio-PID_dist));
					  __HAL_TIM_SetCompare(&htim8,TIM_CHANNEL_2, right_pwm*(min_pwm_ratio-PID_dist));
				  }

			  }
			  else{
				  HAL_GPIO_WritePin(GPIOA, AIN2_Pin, GPIO_PIN_RESET);
				  HAL_GPIO_WritePin(GPIOA, AIN1_Pin, GPIO_PIN_SET);
				  HAL_GPIO_WritePin(GPIOA, BIN2_Pin, GPIO_PIN_RESET);
				  HAL_GPIO_WritePin(GPIOA, BIN1_Pin, GPIO_PIN_SET);

				  if(2*((double)target_is_before - 0.5f)*(target_dist - travel_dist)<10){
					  __HAL_TIM_SetCompare(&htim8,TIM_CHANNEL_1, left_pwm*min_pwm_ratio);
					  __HAL_TIM_SetCompare(&htim8,TIM_CHANNEL_2, right_pwm*min_pwm_ratio);
				  }
				  else{
					  __HAL_TIM_SetCompare(&htim8,TIM_CHANNEL_1, left_pwm*(min_pwm_ratio+PID_dist));
					  __HAL_TIM_SetCompare(&htim8,TIM_CHANNEL_2, right_pwm*(min_pwm_ratio+PID_dist));
				  }
			  }
//			  taskEXIT_CRITICAL();
			  osDelayUntil(pdMS_TO_TICKS(10));
		  }
	  }
	  error_x = error_x + (relative_x - target_x);
	  error_y = error_y + (relative_y - target_y);

	  __HAL_TIM_SetCompare(&htim8,TIM_CHANNEL_1,0);		// Sets both wheel to 0 speed
	  __HAL_TIM_SetCompare(&htim8,TIM_CHANNEL_2,0);
	  Buffer[4] = 'd';		// Sets start of instruction buffer to invalid command so the stm doesn't repeat itself
	  HAL_UART_Transmit(&huart3,"R", sizeof("R"), HAL_MAX_DELAY);	// Sends ready signal to RPi
  }
  /* USER CODE END LeftMotor */
}

void GyroFunc(void *argument)
{
  /* USER CODE BEGIN GyroFunc */
  uint8_t* status = IMU_Initialise(&imu, &hi2c1, &huart3);	// Initialize gyro
  uint8_t dispBuff[20];

  // Calibrate gyroscope
  taskENTER_CRITICAL();
  sprintf(dispBuff, "Calibr Gyro..");	// Prints current heading angle (x1000)
  OLED_ShowString(10,30,dispBuff);
//  OLED_Refresh_Gram();
  osDelay(2000);
  Gyro_calibrateHeading(&imu, pdMS_TO_TICKS(21));	// Sample gyro data every 21ms for 1024 samples and use as offset
  osDelay(2000);
  taskEXIT_CRITICAL();
  is_calibrated = 1;	// Set finish calibration flag to start running other task
  char sbuf[10];

  int32_t encoder_prev = -1, encoder_cur = -1, dif = 0;
  HAL_TIM_Encoder_Start(&htim2, TIM_CHANNEL_ALL);
  straight_error = 0.0;

  uint32_t prevTick = 0;
  uint32_t elapsedMs, tick;

  /* Infinite loop */
  for(;;)
  {
	  // Read gyro value
	  taskENTER_CRITICAL();
	  IMU_GyroReadHeading(&imu);
	  taskEXIT_CRITICAL();

	  // Update heading values
	  current_gyro = current_gyro + imu.gyro[2];		// Manual gyro offset
	  current_angle = current_gyro*1.0f;		// Increase if robot turns too much

	  // Check if it's the first time running
	  taskENTER_CRITICAL();
	  if(encoder_prev == -1 || encoder_cur == -1){
		  encoder_cur = __HAL_TIM_GET_COUNTER(&htim2);
		  encoder_prev = encoder_cur;
		  prevTick = xTaskGetTickCount();
	  }
	  else{
		  encoder_prev = encoder_cur;
		  encoder_cur = __HAL_TIM_GET_COUNTER(&htim2);
		  // Deal with the encoder value wrapping around at 65535
		  if(encoder_cur >= encoder_prev){
			  if(encoder_cur - encoder_prev < 32768){
				  dif = encoder_prev - encoder_cur;
			  }
			  else{
				  dif = encoder_prev + (65535 - encoder_cur);
			  }
		  }
		  else{
			  if(encoder_prev - encoder_cur < 32768){
				  dif = encoder_prev - encoder_cur;
			  }
			  else{
				  dif = encoder_prev - (65535 + encoder_cur);
			  }
		  }
//		  if(__HAL_TIM_IS_TIM_COUNTING_DOWN(&htim2)){
//			  if(encoder_cur <= encoder_prev){
//				  dif = encoder_prev - encoder_cur;
//			  }
//			  else{
//				  dif = encoder_prev + (65535 - encoder_cur);
//			  }
//		  }
//		  else{
//			  if(encoder_cur >= encoder_prev){
//				  dif = encoder_prev - encoder_cur;
//			  }
//			  else{
//				  dif = encoder_prev - (65535 + encoder_cur);
//			  }
//		  }
		  tick = xTaskGetTickCount();
		  elapsedMs = tick-prevTick;
		  prevTick = tick;

		  relative_x = relative_x + dif*sin(current_angle*(M_PI / 180.0))*0.01308996939;
		  relative_y = relative_y + dif*cos(current_angle*(M_PI / 180.0))*0.01308996939;

		  encoder_position = encoder_position + dif;
		  straight_error = straight_error + dif*sin((current_angle - target_angle)*(M_PI / 180.0));
	  }
//	  travel_dist = (double)encoder_position * 0.01310615989;		// Edit constant to calibrate straight line distance
	  travel_dist = (double)encoder_position * 0.01308996939;
	  taskEXIT_CRITICAL();
	  sprintf(dispBuff, "X=%5d,Y=%5d", (int)target_x, (int)target_y);	// Prints current heading angle (x1000)
	  OLED_ShowString(10,30,dispBuff);
	  sprintf(dispBuff, "dif=%5d", dif);	// Prints current heading angle (x1000)
	  OLED_ShowString(10,20,dispBuff);
	  sprintf(dispBuff, "X=%5d,Y=%5d", (int)encoder_cur, (int)error_y);	// Prints current heading angle (x1000)
	  OLED_ShowString(10,40,dispBuff);
	  sprintf(dispBuff, "angle=%5d ", (int)current_angle*1000);	// Prints current heading angle (x1000)
	  OLED_ShowString(10,10,dispBuff);
	  sprintf(dispBuff, "X=%5d,Y=%5d", (int)relative_x, (int)relative_y);	// Prints current heading angle (x1000)
	  OLED_ShowString(10,50,dispBuff);

	  if(!HAL_GPIO_ReadPin(SW_GPIO_Port,SW_Pin)){
		  encoder_position = 0;
		  travel_dist = 0;
		  encoder_prev = -1;
		  encoder_cur = -1;
		  dif = 0;
		  current_gyro = 0;
		  current_angle = 0;
		  t_heading = 0;
		  relative_x = 0;
		  relative_y = 0;
		  error_x = 0;
		  error_y = 0;
		  taskENTER_CRITICAL();
		  sprintf(dispBuff, "Calibr Gyro..");	// Prints current heading angle (x1000)
		  OLED_ShowString(10,30,dispBuff);
		  osDelay(2000);
		  Gyro_calibrateHeading(&imu, pdMS_TO_TICKS(21));	// Sample gyro data every 21ms for 1024 samples and use as offset
		  osDelay(2000);
		  taskEXIT_CRITICAL();
	  }
	  // For debugging
//  	  sprintf(sbuf, "%7d ", (int)(encoder_position));
//  	  HAL_UART_Transmit(&huart3, (uint8_t *)sbuf, 8, HAL_MAX_DELAY);
//  	  sprintf(sbuf, "%7d ", (int)(encoder_cur));
//  	  HAL_UART_Transmit(&huart3, (uint8_t *)sbuf, 8, HAL_MAX_DELAY);

//	  sprintf(sbuf, "%7.2f ", imu.gyro[2]);
//	  HAL_UART_Transmit(&huart3, (uint8_t *)sbuf, 8, HAL_MAX_DELAY);
//	  sprintf(sbuf, "%7d ", (int)((imu.gyro[2])*1000));
//	  HAL_UART_Transmit(&huart3, (uint8_t *)sbuf, 8, HAL_MAX_DELAY);
////	  sprintf(sbuf, "%9ul", (DWT->CYCCNT));
////	  HAL_UART_Transmit(&huart3, (uint8_t *)sbuf, 9, HAL_MAX_DELAY);
//	  sprintf(sbuf, "\r\n");
//	  HAL_UART_Transmit(&huart3, (uint8_t *)sbuf, 2, HAL_MAX_DELAY);

      osDelayUntil(pdMS_TO_TICKS(10));
  }
  /* USER CODE END GyroFunc */
}

void Error_Handler(void)
{
  __disable_irq();
  while (1)
  {
  }
}
